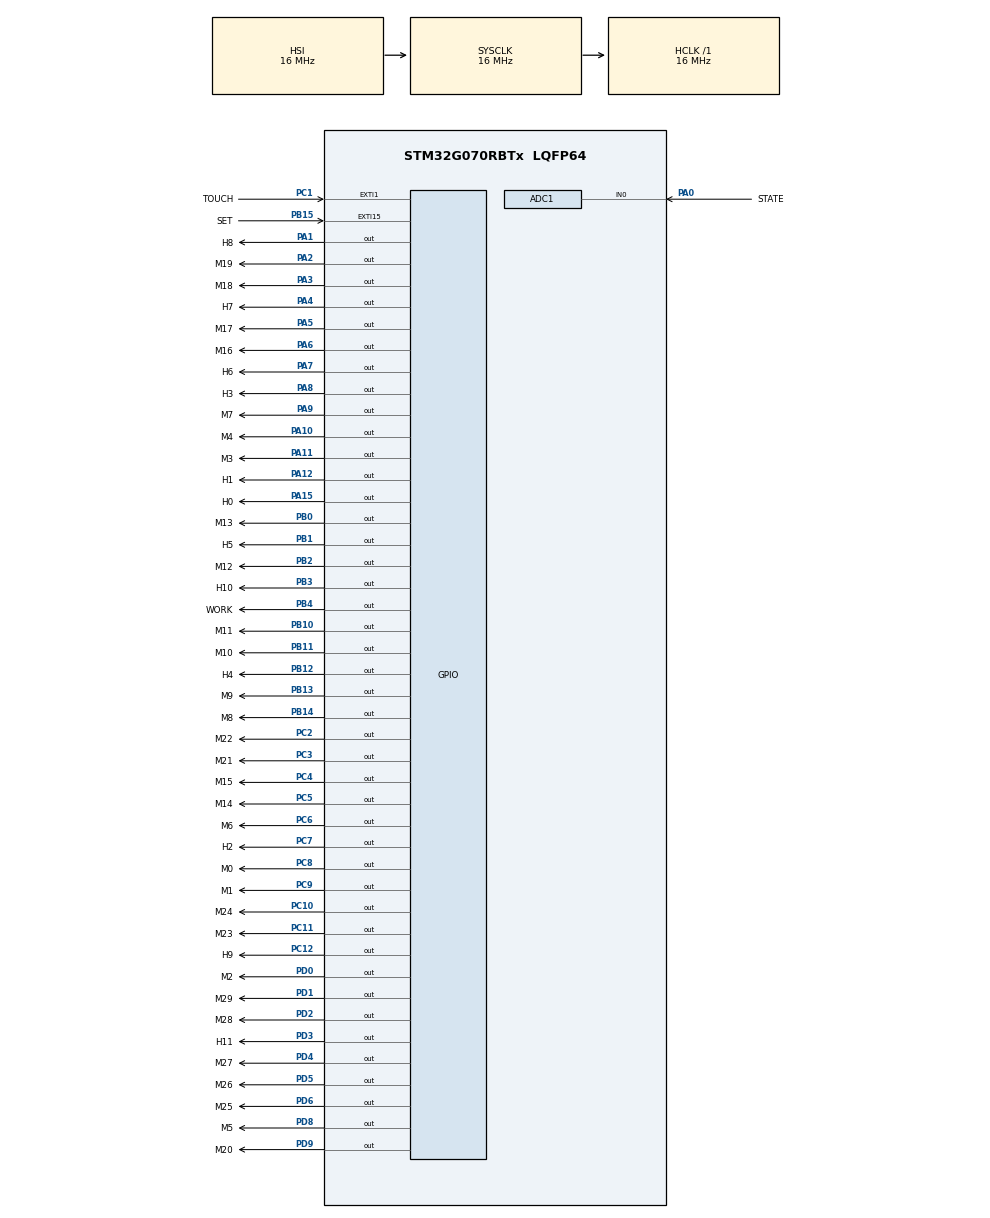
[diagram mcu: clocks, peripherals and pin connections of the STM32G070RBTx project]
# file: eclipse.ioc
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Mcu.Family=STM32G0
RCC.CortexFreq_Value=16000000
PA11\ [PA9].GPIO_Label=M3
PC12.Signal=GPIO_Output
PA12\ [PA10].GPIO_Label=H1
PC10.Signal=GPIO_Output
PB14.GPIO_Label=M8
PA0.GPIO_Label=STATE
PA14-BOOT0.Mode=Serial_Wire
PC6.GPIO_Label=M6
PD0.GPIO_Label=M2
VP_RTC_VS_RTC_Activate.Mode=RTC_Enabled
PB0.GPIO_Label=M13
PA6.GPIO_Label=M16
PC15-OSC32_OUT\ (PC15).Mode=LSE-External-Oscillator
PB13.GPIO_Label=M9
PB11.Signal=GPIO_Output
PB13.Signal=GPIO_Output
PB15.Signal=GPXTI15
PD6.GPIO_Label=M25
ProjectManager.StackSize=0x400
PC14-OSC32_IN\ (PC14).Mode=LSE-External-Oscillator
RTC.WakeUpClock-WakeUp=RTC_WAKEUPCLOCK_RTCCLK_DIV16
PA15.GPIO_Label=H0
RCC.HCLKFreq_Value=16000000
PA12\ [PA10].Signal=GPIO_Output
PD4.Signal=GPIO_Output
PC7.Signal=GPIO_Output
PC3.Signal=GPIO_Output
PD0.Signal=GPIO_Output
PD8.Signal=GPIO_Output
RCC.AHBFreq_Value=16000000
PA14-BOOT0.Signal=SYS_SWCLK
RCC.HSE_VALUE=8000000
RTC.Minutes=59
PB2.Signal=GPIO_Output
RCC.RTCClockSelection=RCC_RTCCLKSOURCE_LSE
PD1.GPIO_Label=M29
PB12.GPIO_Label=H4
PC4.GPIO_Label=M15
PB1.GPIO_Label=H5
PC11.GPIO_Label=M23
PA10.GPIO_Label=M4
PA0.Mode=IN0
VP_SYS_VS_DBSignals.Mode=DisableDeadBatterySignals
PA8.Signal=GPIO_Output
PA0.Signal=ADC1_IN0
ADC1.SelectedChannel=ADC_CHANNEL_0
Mcu.Package=LQFP64
PB1.Signal=GPIO_Output
PA6.Signal=GPIO_Output
PB15.GPIO_PuPd=GPIO_PULLUP
PD5.GPIO_Label=M26
PA2.GPIO_Label=M19
RTC.WakeUpCounter-WakeUp=24390
PA10.Signal=GPIO_Output
VP_RTC_VS_RTC_Calendar.Mode=RTC_Calendar
PA15.Signal=GPIO_Output
PC5.Signal=GPIO_Output
PD3.GPIO_Label=H11
PD6.Signal=GPIO_Output
PA4.GPIO_Label=H7
PC2.GPIO_Label=M22
NVIC.EXTI4_15_IRQn=true\:0\:0\:false\:false\:true\:true\:true
PB4.Signal=GPIO_Output
PA3.Signal=GPIO_Output
PB3.GPIO_Label=H10
PD9.GPIO_Label=M20
PC10.GPIO_Label=M24
PC9.GPIO_Label=M1
PA9.GPIO_Label=M7
PC11.Signal=GPIO_Output
PD3.Signal=GPIO_Output
PC8.Signal=GPIO_Output
PC2.Signal=GPIO_Output
PC4.Signal=GPIO_Output
PC6.Signal=GPIO_Output
PB11.GPIO_Label=M10
NVIC.RTC_TAMP_IRQn=true\:0\:0\:false\:false\:true\:true\:true
PD1.Signal=GPIO_Output
RCC.EXTERNAL_CLOCK_VALUE=48000
PC15-OSC32_OUT\ (PC15).Signal=RCC_OSC32_OUT
PD9.Signal=GPIO_Output
PD5.Signal=GPIO_Output
PD8.GPIO_Label=M5
PC8.GPIO_Label=M0
PA13.Signal=SYS_SWDIO
PA8.GPIO_Label=H3
ProjectManager.TargetToolchain=STM32CubeIDE
PB10.GPIO_Label=M11
PA9.Signal=GPIO_Output
ADC1.Channel-1\#ChannelRegularConversion=ADC_CHANNEL_0
RTC.Format=RTC_FORMAT_BIN
PA1.Signal=GPIO_Output
PB10.Signal=GPIO_Output
PB14.Signal=GPIO_Output
PA5.Signal=GPIO_Output
PB15.GPIO_ModeDefaultEXTI=GPIO_MODE_IT_FALLING
board=custom
RCC.VCOOutputFreq_Value=128000000
PB4.GPIO_Label=WORK
PB15.GPIO_Label=SET
PD4.GPIO_Label=M27
RCC.ADCFreq_Value=16000000
PA1.GPIO_Label=H8
PC1.GPIO_Label=TOUCH
PA13.Mode=Serial_Wire
Mcu.Name=STM32G070RBTx
PA11\ [PA9].Signal=GPIO_Output
PA2.Signal=GPIO_Output
PC7.GPIO_Label=H2
PB3.Signal=GPIO_Output
PA4.Signal=GPIO_Output
ADC1.SamplingTime-1\#ChannelRegularConversion=ADC_SAMPLINGTIME_COMMON_1
RCC.SYSCLKFreq_VALUE=16000000
RTC.Hours=12
PA7.GPIO_Label=H6
ADC1.master=1
PA5.GPIO_Label=M17
PC5.GPIO_Label=M14
PC14-OSC32_IN\ (PC14).Signal=RCC_OSC32_IN
PC12.GPIO_Label=H9
ADC1.Rank-1\#ChannelRegularConversion=1
PB2.GPIO_Label=M12
RTC.HourFormat=RTC_HOURFORMAT_12
ProjectManager.HeapSize=0x200
RCC.HSI_VALUE=16000000
VP_RTC_VS_RTC_WakeUp_intern.Mode=WakeUp
ADC1.NbrOfConversionFlag=1
PC1.GPIO_ModeDefaultEXTI=GPIO_MODE_IT_RISING_FALLING
PC3.GPIO_Label=M21
PC9.Signal=GPIO_Output
PD2.Signal=GPIO_Output
PB0.Signal=GPIO_Output
PC1.Signal=GPXTI1
PB12.Signal=GPIO_Output
PD2.GPIO_Label=M28
PA3.GPIO_Label=M18
PA7.Signal=GPIO_Output
NVIC.EXTI0_1_IRQn=true\:0\:0\:false\:false\:true\:true\:true

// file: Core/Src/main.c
/* USER CODE BEGIN Header */
/**
 ******************************************************************************
 * @file           : main.c
 * @brief          : Main program body
 ******************************************************************************
 * @attention
 *
 * <h2><center>&copy; Copyright (c) 2020 STMicroelectronics.
 * All rights reserved.</center></h2>
 *
 * This software component is licensed by ST under BSD 3-Clause license,
 * the "License"; You may not use this file except in compliance with the
 * License. You may obtain a copy of the License at:
 *                        opensource.org/licenses/BSD-3-Clause
 *
 ******************************************************************************
 */
/*
 *
 * PCB changelog
 * 0.3 - fixed xtal pins, added ADC, added indexes
 *
 */
/* USER CODE END Header */
#include "main.h"

/* USER CODE BEGIN Includes */
#include "../display/display.h"
#include "../interrupts/interrupts.h"
#include "../rtc/rtc.h"
/* USER CODE END Includes */

ADC_HandleTypeDef hadc1;

RTC_HandleTypeDef hrtc;

void SystemClock_Config(void);
static void MX_GPIO_Init(void);
static void MX_RTC_Init(void);
static void MX_ADC1_Init(void);

int main(void)
{

  /* MCU Configuration--------------------------------------------------------*/

  /* Reset of all peripherals, Initializes the Flash interface and the Systick. */
  HAL_Init();

  /* Configure the system clock */
  SystemClock_Config();

  /* Initialize all configured peripherals */
  MX_GPIO_Init();
  MX_RTC_Init();
  MX_ADC1_Init();
  /* USER CODE BEGIN 2 */
	mode = MODE_NORMAL;
	dontSleepFlag = 0;
  /* USER CODE END 2 */

  /* Infinite loop */
  /* USER CODE BEGIN WHILE */
	while (1) {

		if (mode == MODE_NORMAL) {

			rtcGetTime();
			displayShowTime(hours, minutes, 20, 15);
			dontSleepFlag = 0;

		} else if (mode == MODE_SETTINGS_H || mode == MODE_SETTINGS_M) {

			displayTurnOff();
			displayTurnMinutesLED(minutes / 2, 1);

			if (minutes % 2 == 1) {

				HAL_GPIO_WritePin(WORK_GPIO_Port, WORK_Pin, 1);

			} else {

				HAL_GPIO_WritePin(WORK_GPIO_Port, WORK_Pin, 0);

			}

			displayTurnHoursLED(hours, 1);
			HAL_Delay(50);

		} else if (mode == MODE_SETTINGS_S) {

			rtcGetTime();
			displayTurnOff();
			displayTurnMinutesLED(seconds / 2, 1);

			if (seconds % 2 == 1) {

				HAL_GPIO_WritePin(WORK_GPIO_Port, WORK_Pin, 1);

			} else {

				HAL_GPIO_WritePin(WORK_GPIO_Port, WORK_Pin, 0);

			}

			HAL_Delay(50);

		} else if (mode == MODE_SLEEP) {

			HAL_GPIO_WritePin(WORK_GPIO_Port, WORK_Pin, 1);
			HAL_Delay(50);
			HAL_GPIO_WritePin(WORK_GPIO_Port, WORK_Pin, 0);

		} else if(mode == MODE_FORCE){

			rtcGetTime();//for actual seconds reading

			if(HAL_GPIO_ReadPin(SET_GPIO_Port, SET_Pin) == 1){
				displayShowTimeForce(hours, minutes, 0);
			}else{
				displayShowTimeForce(0, seconds, 1);
			}

		}

		if ((mode == MODE_NORMAL || mode == MODE_SLEEP) && dontSleepFlag == 0) {

			mode = MODE_SLEEP;
			HAL_PWR_EnterSTOPMode(PWR_LOWPOWERREGULATOR_ON, PWR_STOPENTRY_WFI);

		}

    /* USER CODE END WHILE */

	}
}

void SystemClock_Config(void)
{
  RCC_OscInitTypeDef RCC_OscInitStruct = {0};
  RCC_ClkInitTypeDef RCC_ClkInitStruct = {0};
  RCC_PeriphCLKInitTypeDef PeriphClkInit = {0};

  /** Configure the main internal regulator output voltage
  */
  HAL_PWREx_ControlVoltageScaling(PWR_REGULATOR_VOLTAGE_SCALE1);
  /** Configure LSE Drive Capability
  */
  HAL_PWR_EnableBkUpAccess();
  __HAL_RCC_LSEDRIVE_CONFIG(RCC_LSEDRIVE_LOW);
  /** Initializes the RCC Oscillators according to the specified parameters
  * in the RCC_OscInitTypeDef structure.
  */
  RCC_OscInitStruct.OscillatorType = RCC_OSCILLATORTYPE_HSI|RCC_OSCILLATORTYPE_LSE;
  RCC_OscInitStruct.LSEState = RCC_LSE_ON;
  RCC_OscInitStruct.HSIState = RCC_HSI_ON;
  RCC_OscInitStruct.HSIDiv = RCC_HSI_DIV1;
  RCC_OscInitStruct.HSICalibrationValue = RCC_HSICALIBRATION_DEFAULT;
  RCC_OscInitStruct.PLL.PLLState = RCC_PLL_NONE;
  if (HAL_RCC_OscConfig(&RCC_OscInitStruct) != HAL_OK)
  {
    Error_Handler();
  }
  /** Initializes the CPU, AHB and APB buses clocks
  */
  RCC_ClkInitStruct.ClockType = RCC_CLOCKTYPE_HCLK|RCC_CLOCKTYPE_SYSCLK
                              |RCC_CLOCKTYPE_PCLK1;
  RCC_ClkInitStruct.SYSCLKSource = RCC_SYSCLKSOURCE_HSI;
  RCC_ClkInitStruct.AHBCLKDivider = RCC_SYSCLK_DIV1;
  RCC_ClkInitStruct.APB1CLKDivider = RCC_HCLK_DIV1;

  if (HAL_RCC_ClockConfig(&RCC_ClkInitStruct, FLASH_LATENCY_0) != HAL_OK)
  {
    Error_Handler();
  }
  /** Initializes the peripherals clocks
  */
  PeriphClkInit.PeriphClockSelection = RCC_PERIPHCLK_RTC|RCC_PERIPHCLK_ADC;
  PeriphClkInit.AdcClockSelection = RCC_ADCCLKSOURCE_SYSCLK;
  PeriphClkInit.RTCClockSelection = RCC_RTCCLKSOURCE_LSE;

  if (HAL_RCCEx_PeriphCLKConfig(&PeriphClkInit) != HAL_OK)
  {
    Error_Handler();
  }
}

static void MX_ADC1_Init(void)
{

  ADC_ChannelConfTypeDef sConfig = {0};

  /** Configure the global features of the ADC (Clock, Resolution, Data Alignment and number of conversion)
  */
  hadc1.Instance = ADC1;
  hadc1.Init.ClockPrescaler = ADC_CLOCK_SYNC_PCLK_DIV2;
  hadc1.Init.Resolution = ADC_RESOLUTION_12B;
  hadc1.Init.DataAlign = ADC_DATAALIGN_RIGHT;
  hadc1.Init.ScanConvMode = ADC_SCAN_DISABLE;
  hadc1.Init.EOCSelection = ADC_EOC_SINGLE_CONV;
  hadc1.Init.LowPowerAutoWait = DISABLE;
  hadc1.Init.LowPowerAutoPowerOff = DISABLE;
  hadc1.Init.ContinuousConvMode = DISABLE;
  hadc1.Init.NbrOfConversion = 1;
  hadc1.Init.DiscontinuousConvMode = DISABLE;
  hadc1.Init.ExternalTrigConv = ADC_SOFTWARE_START;
  hadc1.Init.ExternalTrigConvEdge = ADC_EXTERNALTRIGCONVEDGE_NONE;
  hadc1.Init.DMAContinuousRequests = DISABLE;
  hadc1.Init.Overrun = ADC_OVR_DATA_PRESERVED;
  hadc1.Init.SamplingTimeCommon1 = ADC_SAMPLETIME_1CYCLE_5;
  hadc1.Init.SamplingTimeCommon2 = ADC_SAMPLETIME_1CYCLE_5;
  hadc1.Init.OversamplingMode = DISABLE;
  hadc1.Init.TriggerFrequencyMode = ADC_TRIGGER_FREQ_HIGH;
  if (HAL_ADC_Init(&hadc1) != HAL_OK)
  {
    Error_Handler();
  }
  /** Configure Regular Channel
  */
  sConfig.Channel = ADC_CHANNEL_0;
  sConfig.Rank = ADC_REGULAR_RANK_1;
  sConfig.SamplingTime = ADC_SAMPLINGTIME_COMMON_1;
  if (HAL_ADC_ConfigChannel(&hadc1, &sConfig) != HAL_OK)
  {
    Error_Handler();
  }

}

static void MX_RTC_Init(void)
{

  RTC_TimeTypeDef sTime = {0};
  RTC_DateTypeDef sDate = {0};

  /** Initialize RTC Only
  */
  hrtc.Instance = RTC;
  hrtc.Init.HourFormat = RTC_HOURFORMAT_12;
  hrtc.Init.AsynchPrediv = 127;
  hrtc.Init.SynchPrediv = 255;
  hrtc.Init.OutPut = RTC_OUTPUT_DISABLE;
  hrtc.Init.OutPutRemap = RTC_OUTPUT_REMAP_NONE;
  hrtc.Init.OutPutPolarity = RTC_OUTPUT_POLARITY_HIGH;
  hrtc.Init.OutPutType = RTC_OUTPUT_TYPE_OPENDRAIN;
  hrtc.Init.OutPutPullUp = RTC_OUTPUT_PULLUP_NONE;
  if (HAL_RTC_Init(&hrtc) != HAL_OK)
  {
    Error_Handler();
  }

  /** Initialize RTC and set the Time and Date
  */
  sTime.Hours = 12;
  sTime.Minutes = 59;
  sTime.Seconds = 0;
  sTime.SubSeconds = 0;
  sTime.TimeFormat = RTC_HOURFORMAT12_AM;
  sTime.DayLightSaving = RTC_DAYLIGHTSAVING_NONE;
  sTime.StoreOperation = RTC_STOREOPERATION_RESET;
  if (HAL_RTC_SetTime(&hrtc, &sTime, RTC_FORMAT_BIN) != HAL_OK)
  {
    Error_Handler();
  }
  sDate.WeekDay = RTC_WEEKDAY_MONDAY;
  sDate.Month = RTC_MONTH_JANUARY;
  sDate.Date = 1;
  sDate.Year = 0;

  if (HAL_RTC_SetDate(&hrtc, &sDate, RTC_FORMAT_BIN) != HAL_OK)
  {
    Error_Handler();
  }
  /** Enable the WakeUp
  */
  if (HAL_RTCEx_SetWakeUpTimer_IT(&hrtc, 24390, RTC_WAKEUPCLOCK_RTCCLK_DIV16) != HAL_OK)
  {
    Error_Handler();
  }

}

static void MX_GPIO_Init(void)
{
  GPIO_InitTypeDef GPIO_InitStruct = {0};

  /* GPIO Ports Clock Enable */
  __HAL_RCC_GPIOC_CLK_ENABLE();
  __HAL_RCC_GPIOA_CLK_ENABLE();
  __HAL_RCC_GPIOB_CLK_ENABLE();
  __HAL_RCC_GPIOD_CLK_ENABLE();

  /*Configure GPIO pin Output Level */
  HAL_GPIO_WritePin(GPIOC, M23_Pin|H9_Pin|M22_Pin|M21_Pin
                          |M15_Pin|M14_Pin|M6_Pin|H2_Pin
                          |M0_Pin|M1_Pin|M24_Pin, GPIO_PIN_RESET);

  /*Configure GPIO pin Output Level */
  HAL_GPIO_WritePin(GPIOA, H8_Pin|M19_Pin|M18_Pin|H7_Pin
                          |M17_Pin|M16_Pin|H6_Pin|H3_Pin
                          |M7_Pin|M4_Pin|M3_Pin|H1_Pin
                          |H0_Pin, GPIO_PIN_RESET);

  /*Configure GPIO pin Output Level */
  HAL_GPIO_WritePin(GPIOB, M13_Pin|H5_Pin|M12_Pin|M11_Pin
                          |M10_Pin|H4_Pin|M9_Pin|M8_Pin
                          |H10_Pin|WORK_Pin, GPIO_PIN_RESET);

  /*Configure GPIO pin Output Level */
  HAL_GPIO_WritePin(GPIOD, M5_Pin|M20_Pin|M2_Pin|M29_Pin
                          |M28_Pin|H11_Pin|M27_Pin|M26_Pin
                          |M25_Pin, GPIO_PIN_RESET);

  /*Configure GPIO pins : M23_Pin H9_Pin M22_Pin M21_Pin
                           M15_Pin M14_Pin M6_Pin H2_Pin
                           M0_Pin M1_Pin M24_Pin */
  GPIO_InitStruct.Pin = M23_Pin|H9_Pin|M22_Pin|M21_Pin
                          |M15_Pin|M14_Pin|M6_Pin|H2_Pin
                          |M0_Pin|M1_Pin|M24_Pin;
  GPIO_InitStruct.Mode = GPIO_MODE_OUTPUT_PP;
  GPIO_InitStruct.Pull = GPIO_NOPULL;
  GPIO_InitStruct.Speed = GPIO_SPEED_FREQ_LOW;
  HAL_GPIO_Init(GPIOC, &GPIO_InitStruct);

  /*Configure GPIO pin : TOUCH_Pin */
  GPIO_InitStruct.Pin = TOUCH_Pin;
  GPIO_InitStruct.Mode = GPIO_MODE_IT_RISING_FALLING;
  GPIO_InitStruct.Pull = GPIO_NOPULL;
  HAL_GPIO_Init(TOUCH_GPIO_Port, &GPIO_InitStruct);

  /*Configure GPIO pins : H8_Pin M19_Pin M18_Pin H7_Pin
                           M17_Pin M16_Pin H6_Pin H3_Pin
                           M7_Pin M4_Pin M3_Pin H1_Pin
                           H0_Pin */
  GPIO_InitStruct.Pin = H8_Pin|M19_Pin|M18_Pin|H7_Pin
                          |M17_Pin|M16_Pin|H6_Pin|H3_Pin
                          |M7_Pin|M4_Pin|M3_Pin|H1_Pin
                          |H0_Pin;
  GPIO_InitStruct.Mode = GPIO_MODE_OUTPUT_PP;
  GPIO_InitStruct.Pull = GPIO_NOPULL;
  GPIO_InitStruct.Speed = GPIO_SPEED_FREQ_LOW;
  HAL_GPIO_Init(GPIOA, &GPIO_InitStruct);

  /*Configure GPIO pins : M13_Pin H5_Pin M12_Pin M11_Pin
                           M10_Pin H4_Pin M9_Pin M8_Pin
                           H10_Pin WORK_Pin */
  GPIO_InitStruct.Pin = M13_Pin|H5_Pin|M12_Pin|M11_Pin
                          |M10_Pin|H4_Pin|M9_Pin|M8_Pin
                          |H10_Pin|WORK_Pin;
  GPIO_InitStruct.Mode = GPIO_MODE_OUTPUT_PP;
  GPIO_InitStruct.Pull = GPIO_NOPULL;
  GPIO_InitStruct.Speed = GPIO_SPEED_FREQ_LOW;
  HAL_GPIO_Init(GPIOB, &GPIO_InitStruct);

  /*Configure GPIO pin : SET_Pin */
  GPIO_InitStruct.Pin = SET_Pin;
  GPIO_InitStruct.Mode = GPIO_MODE_IT_FALLING;
  GPIO_InitStruct.Pull = GPIO_PULLUP;
  HAL_GPIO_Init(SET_GPIO_Port, &GPIO_InitStruct);

  /*Configure GPIO pins : M5_Pin M20_Pin M2_Pin M29_Pin
                           M28_Pin H11_Pin M27_Pin M26_Pin
                           M25_Pin */
  GPIO_InitStruct.Pin = M5_Pin|M20_Pin|M2_Pin|M29_Pin
                          |M28_Pin|H11_Pin|M27_Pin|M26_Pin
                          |M25_Pin;
  GPIO_InitStruct.Mode = GPIO_MODE_OUTPUT_PP;
  GPIO_InitStruct.Pull = GPIO_NOPULL;
  GPIO_InitStruct.Speed = GPIO_SPEED_FREQ_LOW;
  HAL_GPIO_Init(GPIOD, &GPIO_InitStruct);

  /* EXTI interrupt init*/
  HAL_NVIC_SetPriority(EXTI0_1_IRQn, 0, 0);
  HAL_NVIC_EnableIRQ(EXTI0_1_IRQn);

  HAL_NVIC_SetPriority(EXTI4_15_IRQn, 0, 0);
  HAL_NVIC_EnableIRQ(EXTI4_15_IRQn);

}

void Error_Handler(void)
{
	__disable_irq();
	while (1) {
	}
}

/************************ (C) COPYRIGHT STMicroelectronics *****END OF FILE****/
